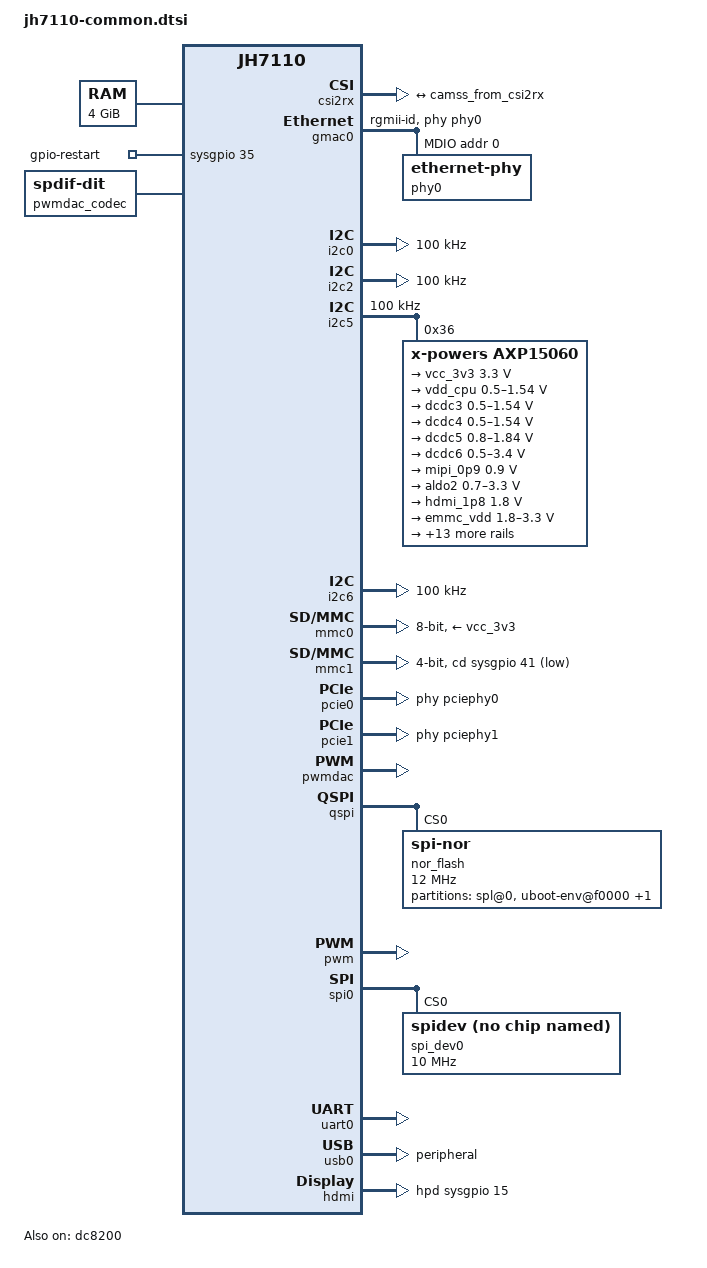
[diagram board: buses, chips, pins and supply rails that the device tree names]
// SPDX-License-Identifier: GPL-2.0 OR MIT
/*
 * Copyright (C) 2022 StarFive Technology Co., Ltd.
 * Copyright (C) 2022 Emil Renner Berthing <kernel@esmil.dk>
 */

/dts-v1/;
#include "jh7110.dtsi"
#include "jh7110-pinfunc.h"
#include <dt-bindings/gpio/gpio.h>

/ {
	aliases {
		ethernet0 = &gmac0;
		i2c0 = &i2c0;
		i2c2 = &i2c2;
		i2c5 = &i2c5;
		i2c6 = &i2c6;
		mmc0 = &mmc0;
		mmc1 = &mmc1;
		serial0 = &uart0;
	};

	chosen {
		stdout-path = "serial0:115200n8";
	};

	memory@40000000 {
		device_type = "memory";
		reg = <0x0 0x40000000 0x1 0x0>;
	};

	gpio-restart {
		compatible = "gpio-restart";
		gpios = <&sysgpio 35 GPIO_ACTIVE_HIGH>;
		priority = <224>;
	};

	pwmdac_codec: audio-codec {
		compatible = "linux,spdif-dit";
		#sound-dai-cells = <0>;
	};

	sound {
		compatible = "simple-audio-card";
		simple-audio-card,name = "StarFive-PWMDAC-Sound-Card";
		simple-audio-card,format = "left_j";

		simple-audio-card,cpu {
			sound-dai = <&pwmdac>;
		};

		simple-audio-card,codec {
			sound-dai = <&pwmdac_codec>;
		};
	};
};

&cpus {
	timebase-frequency = <4000000>;
};

&dvp_clk {
	clock-frequency = <74250000>;
};

&gmac0_rgmii_rxin {
	clock-frequency = <125000000>;
};

&gmac0_rmii_refin {
	clock-frequency = <50000000>;
};

&gmac1_rgmii_rxin {
	clock-frequency = <125000000>;
};

&gmac1_rmii_refin {
	clock-frequency = <50000000>;
};

&hdmitx0_pixelclk {
	clock-frequency = <74250000>;
};

&i2srx_bclk_ext {
	clock-frequency = <12288000>;
};

&i2srx_lrck_ext {
	clock-frequency = <192000>;
};

&i2stx_bclk_ext {
	clock-frequency = <12288000>;
};

&i2stx_lrck_ext {
	clock-frequency = <192000>;
};

&mclk_ext {
	clock-frequency = <12288000>;
};

&osc {
	clock-frequency = <24000000>;
};

&rtc_osc {
	clock-frequency = <32768>;
};

&tdm_ext {
	clock-frequency = <49152000>;
};

&camss {
	assigned-clocks = <&ispcrg JH7110_ISPCLK_DOM4_APB_FUNC>,
			  <&ispcrg JH7110_ISPCLK_MIPI_RX0_PXL>;
	assigned-clock-rates = <49500000>, <198000000>;

	ports {
		#address-cells = <1>;
		#size-cells = <0>;

		port@0 {
			reg = <0>;
		};

		port@1 {
			reg = <1>;

			camss_from_csi2rx: endpoint {
				remote-endpoint = <&csi2rx_to_camss>;
			};
		};
	};
};

&csi2rx {
	assigned-clocks = <&ispcrg JH7110_ISPCLK_VIN_SYS>;
	assigned-clock-rates = <297000000>;

	ports {
		#address-cells = <1>;
		#size-cells = <0>;

		port@0 {
			reg = <0>;

			/* remote MIPI sensor endpoint */
		};

		port@1 {
			reg = <1>;

			csi2rx_to_camss: endpoint {
				remote-endpoint = <&camss_from_csi2rx>;
			};
		};
	};
};

&gmac0 {
	phy-handle = <&phy0>;
	phy-mode = "rgmii-id";
	status = "okay";

	mdio {
		#address-cells = <1>;
		#size-cells = <0>;
		compatible = "snps,dwmac-mdio";

		phy0: ethernet-phy@0 {
			reg = <0>;
		};
	};
};

&i2c0 {
	clock-frequency = <100000>;
	i2c-sda-hold-time-ns = <300>;
	i2c-sda-falling-time-ns = <510>;
	i2c-scl-falling-time-ns = <510>;
	pinctrl-names = "default";
	pinctrl-0 = <&i2c0_pins>;
	status = "okay";
};

&i2c2 {
	clock-frequency = <100000>;
	i2c-sda-hold-time-ns = <300>;
	i2c-sda-falling-time-ns = <510>;
	i2c-scl-falling-time-ns = <510>;
	pinctrl-names = "default";
	pinctrl-0 = <&i2c2_pins>;
	status = "okay";
};

&i2c5 {
	clock-frequency = <100000>;
	i2c-sda-hold-time-ns = <300>;
	i2c-sda-falling-time-ns = <510>;
	i2c-scl-falling-time-ns = <510>;
	pinctrl-names = "default";
	pinctrl-0 = <&i2c5_pins>;
	status = "okay";

	axp15060: pmic@36 {
		compatible = "x-powers,axp15060";
		reg = <0x36>;
		interrupt-controller;
		#interrupt-cells = <1>;

		regulators {
			vcc_3v3: dcdc1 {
				regulator-boot-on;
				regulator-always-on;
				regulator-min-microvolt = <3300000>;
				regulator-max-microvolt = <3300000>;
				regulator-name = "vcc_3v3";
			};

			vdd_cpu: dcdc2 {
				regulator-always-on;
				regulator-min-microvolt = <500000>;
				regulator-max-microvolt = <1540000>;
				regulator-name = "vdd-cpu";
			};

			dcdc3 {
				regulator-always-on;
				regulator-min-microvolt = <500000>;
				regulator-max-microvolt = <1540000>;
				regulator-name = "dcdc3";
			};

			dcdc4 {
				regulator-always-on;
				regulator-min-microvolt = <500000>;
				regulator-max-microvolt = <1540000>;
				regulator-name = "dcdc4";
			};

			dcdc5 {
				regulator-always-on;
				regulator-min-microvolt = <800000>;
				regulator-max-microvolt = <1840000>;
				regulator-name = "dcdc5";
			};

			dcdc6 {
				regulator-min-microvolt = <500000>;
				regulator-max-microvolt = <3400000>;
				regulator-name = "dcdc6";
			};

			mipi_0p9: aldo1 {
				regulator-boot-on;
				regulator-min-microvolt = <900000>;
				regulator-max-microvolt = <900000>;
				regulator-name = "mipi_0p9";
			};

			aldo2 {
				regulator-min-microvolt = <700000>;
				regulator-max-microvolt = <3300000>;
				regulator-name = "aldo2";
			};

			hdmi_1p8: aldo3 {
				regulator-boot-on;
				regulator-min-microvolt = <1800000>;
				regulator-max-microvolt = <1800000>;
				regulator-name = "hdmi_1p8";
			};

			emmc_vdd: aldo4 {
				regulator-boot-on;
				regulator-always-on;
				regulator-min-microvolt = <1800000>;
				regulator-max-microvolt = <3300000>;
				regulator-name = "emmc_vdd";
			};

			hdmi_0p9: aldo5 {
				regulator-boot-on;
				regulator-min-microvolt = <900000>;
				regulator-max-microvolt = <900000>;
				regulator-name = "hdmi_0p9";
			};

			bldo1 {
				regulator-min-microvolt = <700000>;
				regulator-max-microvolt = <3300000>;
				regulator-name = "bldo1";
			};

			bldo2 {
				regulator-min-microvolt = <700000>;
				regulator-max-microvolt = <3300000>;
				regulator-name = "bldo2";
			};

			bldo3 {
				regulator-min-microvolt = <700000>;
				regulator-max-microvolt = <3300000>;
				regulator-name = "bldo3";
			};

			bldo4 {
				regulator-min-microvolt = <700000>;
				regulator-max-microvolt = <3300000>;
				regulator-name = "bldo4";
			};

			bldo5 {
				regulator-min-microvolt = <700000>;
				regulator-max-microvolt = <3300000>;
				regulator-name = "bldo5";
			};

			cldo1 {
				regulator-min-microvolt = <700000>;
				regulator-max-microvolt = <3300000>;
				regulator-name = "cldo1";
			};

			cldo2 {
				regulator-min-microvolt = <700000>;
				regulator-max-microvolt = <3300000>;
				regulator-name = "cldo2";
			};

			cldo3 {
				regulator-min-microvolt = <700000>;
				regulator-max-microvolt = <3300000>;
				regulator-name = "cldo3";
			};

			cldo4 {
				regulator-min-microvolt = <700000>;
				regulator-max-microvolt = <4200000>;
				regulator-name = "cldo4";
			};

			cpusldo {
				regulator-min-microvolt = <700000>;
				regulator-max-microvolt = <1400000>;
				regulator-name = "cpusldo";
			};

			sw {
				regulator-name = "sw";
			};

			rtc-ldo {
				regulator-always-on;
				regulator-min-microvolt = <1800000>;
				regulator-max-microvolt = <1800000>;
				regulator-name = "rtc-ldo";
			};
		};
	};
};

&i2c6 {
	clock-frequency = <100000>;
	i2c-sda-hold-time-ns = <300>;
	i2c-sda-falling-time-ns = <510>;
	i2c-scl-falling-time-ns = <510>;
	pinctrl-names = "default";
	pinctrl-0 = <&i2c6_pins>;
	status = "okay";
};

&mmc0 {
	max-frequency = <100000000>;
	assigned-clocks = <&syscrg JH7110_SYSCLK_SDIO0_SDCARD>;
	assigned-clock-rates = <50000000>;
	bus-width = <8>;
	cap-mmc-highspeed;
	mmc-ddr-1_8v;
	mmc-hs200-1_8v;
	cap-mmc-hw-reset;
	post-power-on-delay-ms = <200>;
	pinctrl-names = "default";
	pinctrl-0 = <&mmc0_pins>;
	vmmc-supply = <&vcc_3v3>;
	vqmmc-supply = <&emmc_vdd>;
	status = "okay";
};

&mmc1 {
	max-frequency = <100000000>;
	assigned-clocks = <&syscrg JH7110_SYSCLK_SDIO1_SDCARD>;
	assigned-clock-rates = <50000000>;
	bus-width = <4>;
	no-sdio;
	no-mmc;
	cd-gpios = <&sysgpio 41 GPIO_ACTIVE_LOW>;
	disable-wp;
	cap-sd-highspeed;
	post-power-on-delay-ms = <200>;
	pinctrl-names = "default";
	pinctrl-0 = <&mmc1_pins>;
	status = "okay";
};

&pcie0 {
	perst-gpios = <&sysgpio 26 GPIO_ACTIVE_LOW>;
	phys = <&pciephy0>;
	pinctrl-names = "default";
	pinctrl-0 = <&pcie0_pins>;
};

&pcie1 {
	perst-gpios = <&sysgpio 28 GPIO_ACTIVE_LOW>;
	phys = <&pciephy1>;
	pinctrl-names = "default";
	pinctrl-0 = <&pcie1_pins>;
};

&pwmdac {
	pinctrl-names = "default";
	pinctrl-0 = <&pwmdac_pins>;
	status = "okay";
};

&qspi {
	#address-cells = <1>;
	#size-cells = <0>;
	status = "okay";

	nor_flash: flash@0 {
		compatible = "jedec,spi-nor";
		reg = <0>;
		cdns,read-delay = <5>;
		spi-max-frequency = <12000000>;
		cdns,tshsl-ns = <1>;
		cdns,tsd2d-ns = <1>;
		cdns,tchsh-ns = <1>;
		cdns,tslch-ns = <1>;

		partitions {
			compatible = "fixed-partitions";
			#address-cells = <1>;
			#size-cells = <1>;

			spl@0 {
				reg = <0x0 0xf0000>;
			};
			uboot-env@f0000 {
				reg = <0xf0000 0x10000>;
			};
			uboot@100000 {
				reg = <0x100000 0xf00000>;
			};
		};
	};
};

&pwm {
	pinctrl-names = "default";
	pinctrl-0 = <&pwm_pins>;
	status = "okay";
};

&spi0 {
	pinctrl-names = "default";
	pinctrl-0 = <&spi0_pins>;
	status = "okay";

	spi_dev0: spi@0 {
		compatible = "rohm,dh2228fv";
		reg = <0>;
		spi-max-frequency = <10000000>;
	};
};

&syscrg {
	assigned-clocks = <&syscrg JH7110_SYSCLK_CPU_CORE>,
			  <&pllclk JH7110_PLLCLK_PLL0_OUT>;
	assigned-clock-rates = <500000000>, <1500000000>;
};

&sysgpio {
	i2c0_pins: i2c0-0 {
		i2c-pins {
			pinmux = <GPIOMUX(57, GPOUT_LOW,
					      GPOEN_SYS_I2C0_CLK,
					      GPI_SYS_I2C0_CLK)>,
				 <GPIOMUX(58, GPOUT_LOW,
					      GPOEN_SYS_I2C0_DATA,
					      GPI_SYS_I2C0_DATA)>;
			bias-disable; /* external pull-up */
			input-enable;
			input-schmitt-enable;
		};
	};

	i2c2_pins: i2c2-0 {
		i2c-pins {
			pinmux = <GPIOMUX(3, GPOUT_LOW,
					     GPOEN_SYS_I2C2_CLK,
					     GPI_SYS_I2C2_CLK)>,
				 <GPIOMUX(2, GPOUT_LOW,
					     GPOEN_SYS_I2C2_DATA,
					     GPI_SYS_I2C2_DATA)>;
			bias-disable; /* external pull-up */
			input-enable;
			input-schmitt-enable;
		};
	};

	i2c5_pins: i2c5-0 {
		i2c-pins {
			pinmux = <GPIOMUX(19, GPOUT_LOW,
					      GPOEN_SYS_I2C5_CLK,
					      GPI_SYS_I2C5_CLK)>,
				 <GPIOMUX(20, GPOUT_LOW,
					      GPOEN_SYS_I2C5_DATA,
					      GPI_SYS_I2C5_DATA)>;
			bias-disable; /* external pull-up */
			input-enable;
			input-schmitt-enable;
		};
	};

	i2c6_pins: i2c6-0 {
		i2c-pins {
			pinmux = <GPIOMUX(16, GPOUT_LOW,
					      GPOEN_SYS_I2C6_CLK,
					      GPI_SYS_I2C6_CLK)>,
				 <GPIOMUX(17, GPOUT_LOW,
					      GPOEN_SYS_I2C6_DATA,
					      GPI_SYS_I2C6_DATA)>;
			bias-disable; /* external pull-up */
			input-enable;
			input-schmitt-enable;
		};
	};

	mmc0_pins: mmc0-0 {
		 rst-pins {
			pinmux = <GPIOMUX(62, GPOUT_SYS_SDIO0_RST,
					      GPOEN_ENABLE,
					      GPI_NONE)>;
			bias-pull-up;
			drive-strength = <12>;
			input-disable;
			input-schmitt-disable;
			slew-rate = <0>;
		};

		mmc-pins {
			pinmux = <PINMUX(64, 0)>,
				 <PINMUX(65, 0)>,
				 <PINMUX(66, 0)>,
				 <PINMUX(67, 0)>,
				 <PINMUX(68, 0)>,
				 <PINMUX(69, 0)>,
				 <PINMUX(70, 0)>,
				 <PINMUX(71, 0)>,
				 <PINMUX(72, 0)>,
				 <PINMUX(73, 0)>;
			bias-pull-up;
			drive-strength = <12>;
			input-enable;
		};
	};

	mmc1_pins: mmc1-0 {
		clk-pins {
			pinmux = <GPIOMUX(10, GPOUT_SYS_SDIO1_CLK,
					      GPOEN_ENABLE,
					      GPI_NONE)>;
			bias-pull-up;
			drive-strength = <12>;
			input-disable;
			input-schmitt-disable;
			slew-rate = <0>;
		};

		mmc-pins {
			pinmux = <GPIOMUX(9, GPOUT_SYS_SDIO1_CMD,
					     GPOEN_SYS_SDIO1_CMD,
					     GPI_SYS_SDIO1_CMD)>,
				 <GPIOMUX(11, GPOUT_SYS_SDIO1_DATA0,
					      GPOEN_SYS_SDIO1_DATA0,
					      GPI_SYS_SDIO1_DATA0)>,
				 <GPIOMUX(12, GPOUT_SYS_SDIO1_DATA1,
					      GPOEN_SYS_SDIO1_DATA1,
					      GPI_SYS_SDIO1_DATA1)>,
				 <GPIOMUX(7, GPOUT_SYS_SDIO1_DATA2,
					     GPOEN_SYS_SDIO1_DATA2,
					     GPI_SYS_SDIO1_DATA2)>,
				 <GPIOMUX(8, GPOUT_SYS_SDIO1_DATA3,
					     GPOEN_SYS_SDIO1_DATA3,
					     GPI_SYS_SDIO1_DATA3)>;
			bias-pull-up;
			drive-strength = <12>;
			input-enable;
			input-schmitt-enable;
			slew-rate = <0>;
		};
	};

	pcie0_pins: pcie0-0 {
		clkreq-pins {
			pinmux = <GPIOMUX(27, GPOUT_LOW,
					      GPOEN_DISABLE,
					      GPI_NONE)>;
			bias-pull-down;
			drive-strength = <2>;
			input-enable;
			input-schmitt-disable;
			slew-rate = <0>;
		};

		wake-pins {
			pinmux = <GPIOMUX(32, GPOUT_LOW,
					      GPOEN_DISABLE,
					      GPI_NONE)>;
			bias-pull-up;
			drive-strength = <2>;
			input-enable;
			input-schmitt-disable;
			slew-rate = <0>;
		};
	};

	pcie1_pins: pcie1-0 {
		clkreq-pins {
			pinmux = <GPIOMUX(29, GPOUT_LOW,
					      GPOEN_DISABLE,
					      GPI_NONE)>;
			bias-pull-down;
			drive-strength = <2>;
			input-enable;
			input-schmitt-disable;
			slew-rate = <0>;
		};

		wake-pins {
			pinmux = <GPIOMUX(21, GPOUT_LOW,
				      GPOEN_DISABLE,
					      GPI_NONE)>;
			bias-pull-up;
			drive-strength = <2>;
			input-enable;
			input-schmitt-disable;
			slew-rate = <0>;
		};
	};

	pwmdac_pins: pwmdac-0 {
		pwmdac-pins {
			pinmux = <GPIOMUX(33, GPOUT_SYS_PWMDAC_LEFT,
					      GPOEN_ENABLE,
					      GPI_NONE)>,
				 <GPIOMUX(34, GPOUT_SYS_PWMDAC_RIGHT,
					      GPOEN_ENABLE,
					      GPI_NONE)>;
			bias-disable;
			drive-strength = <2>;
			input-disable;
			input-schmitt-disable;
			slew-rate = <0>;
		};
	};

	pwm_pins: pwm-0 {
		pwm-pins {
			pinmux = <GPIOMUX(46, GPOUT_SYS_PWM_CHANNEL0,
					      GPOEN_SYS_PWM0_CHANNEL0,
					      GPI_NONE)>,
				 <GPIOMUX(59, GPOUT_SYS_PWM_CHANNEL1,
					      GPOEN_SYS_PWM0_CHANNEL1,
					      GPI_NONE)>;
			bias-disable;
			drive-strength = <12>;
			input-disable;
			input-schmitt-disable;
			slew-rate = <0>;
		};
	};

	spi0_pins: spi0-0 {
		mosi-pins {
			pinmux = <GPIOMUX(52, GPOUT_SYS_SPI0_TXD,
					      GPOEN_ENABLE,
					      GPI_NONE)>;
			bias-disable;
			input-disable;
			input-schmitt-disable;
		};

		miso-pins {
			pinmux = <GPIOMUX(53, GPOUT_LOW,
					      GPOEN_DISABLE,
					      GPI_SYS_SPI0_RXD)>;
			bias-pull-up;
			input-enable;
			input-schmitt-enable;
		};

		sck-pins {
			pinmux = <GPIOMUX(48, GPOUT_SYS_SPI0_CLK,
					      GPOEN_ENABLE,
					      GPI_SYS_SPI0_CLK)>;
			bias-disable;
			input-disable;
			input-schmitt-disable;
		};

		ss-pins {
			pinmux = <GPIOMUX(49, GPOUT_SYS_SPI0_FSS,
					      GPOEN_ENABLE,
					      GPI_SYS_SPI0_FSS)>;
			bias-disable;
			input-disable;
			input-schmitt-disable;
		};
	};

	/*
	 * HDMI DDC (SCL/SDA), CEC and hot-plug detect.
	 *
	 * Absent from the upstream 6.12 DTS that FreeBSD imports, but present in
	 * StarFive's own DTB, which is why Debian can read EDID and we could not:
	 * without this the pins are never muxed to the HDMI controller nor
	 * input-enabled, so its DDC master drives nothing. The values are copied
	 * verbatim from StarFive's jh7110-starfive-visionfive-2-v1.3b.dtb.
	 *
	 * GPIOMUX(n, dout, doen, din) packs as
	 *   (din << 24) | (dout << 16) | (doen << 10) | n
	 * so these decode to: SCL gpio0, SDA gpio1, CEC gpio14, HPD gpio15.
	 * Raw values are used rather than the macro so the encoding matches
	 * StarFive's blob exactly.
	 */
	hdmi_pins: hdmi-0 {
		scl-pins {
			pinmux = <0x060b0c00>;
			bias-pull-up;
			input-enable;
		};

		sda-pins {
			pinmux = <0x070c1001>;
			bias-pull-up;
			input-enable;
		};

		cec-pins {
			pinmux = <0x050a080e>;
			bias-pull-up;
			input-enable;
		};

		hpd-pins {
			pinmux = <0x0800040f>;
			bias-disable;
			input-enable;
		};
	};

	uart0_pins: uart0-0 {
		tx-pins {
			pinmux = <GPIOMUX(5, GPOUT_SYS_UART0_TX,
					     GPOEN_ENABLE,
					     GPI_NONE)>;
			bias-disable;
			drive-strength = <12>;
			input-disable;
			input-schmitt-disable;
			slew-rate = <0>;
		};

		rx-pins {
			pinmux = <GPIOMUX(6, GPOUT_LOW,
					     GPOEN_DISABLE,
					     GPI_SYS_UART0_RX)>;
			bias-disable; /* external pull-up */
			drive-strength = <2>;
			input-enable;
			input-schmitt-enable;
			slew-rate = <0>;
		};
	};
};

&uart0 {
	pinctrl-names = "default";
	pinctrl-0 = <&uart0_pins>;
	status = "okay";
};

&usb0 {
	dr_mode = "peripheral";
	status = "okay";
};

&U74_1 {
	cpu-supply = <&vdd_cpu>;
};

&U74_2 {
	cpu-supply = <&vdd_cpu>;
};

&U74_3 {
	cpu-supply = <&vdd_cpu>;
};

&U74_4 {
	cpu-supply = <&vdd_cpu>;
};

&dc8200 {
	status = "okay";
};

&hdmi {
	pinctrl-names = "default";
	pinctrl-0 = <&hdmi_pins>;

	/*
	 * Hot-plug detect is brought out to GPIO15. The pin is also muxed
	 * into the HDMI controller (din 8 in &hdmi_pins), but the
	 * controller's own hot-plug status bit stays clear on this board
	 * even with a sink attached, so the GPIO is the only reliable
	 * source. StarFive's driver reads it the same way.
	 */
	hpd-gpios = <&sysgpio 15 GPIO_ACTIVE_HIGH>;

	status = "okay";
};
